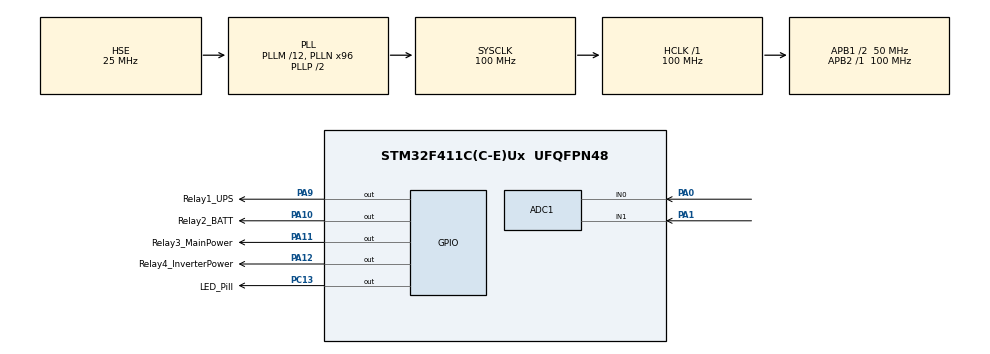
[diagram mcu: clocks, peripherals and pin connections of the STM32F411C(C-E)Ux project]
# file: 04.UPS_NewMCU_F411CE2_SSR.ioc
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ADC1.Channel-0\#ChannelRegularConversion=ADC_CHANNEL_0
ADC1.Channel-1\#ChannelRegularConversion=ADC_CHANNEL_1
ADC1.ExternalTrigConv=ADC_EXTERNALTRIGCONV_T2_TRGO
ADC1.NbrOfConversion=2
ADC1.NbrOfConversionFlag=1
ADC1.Rank-0\#ChannelRegularConversion=1
ADC1.Rank-1\#ChannelRegularConversion=2
ADC1.SamplingTime-0\#ChannelRegularConversion=ADC_SAMPLETIME_144CYCLES
ADC1.SamplingTime-1\#ChannelRegularConversion=ADC_SAMPLETIME_56CYCLES
ADC1.ScanConvMode=ENABLE
ADC1.master=1
Dma.ADC1.0.Direction=DMA_PERIPH_TO_MEMORY
Dma.ADC1.0.FIFOMode=DMA_FIFOMODE_DISABLE
Dma.ADC1.0.Instance=DMA2_Stream0
Dma.ADC1.0.MemDataAlignment=DMA_MDATAALIGN_WORD
Dma.ADC1.0.MemInc=DMA_MINC_ENABLE
Dma.ADC1.0.Mode=DMA_NORMAL
Dma.ADC1.0.PeriphDataAlignment=DMA_PDATAALIGN_WORD
Dma.ADC1.0.PeriphInc=DMA_PINC_DISABLE
Dma.ADC1.0.Priority=DMA_PRIORITY_MEDIUM
Dma.Request0=ADC1
Mcu.Family=STM32F4
Mcu.Name=STM32F411C(C-E)Ux
Mcu.Package=UFQFPN48
NVIC.DMA2_Stream0_IRQn=true\:0\:0\:false\:false\:true\:false\:true\:true
NVIC.PriorityGroup=NVIC_PRIORITYGROUP_4
NVIC.TIM1_UP_TIM10_IRQn=true\:0\:0\:false\:false\:true\:true\:true\:true
PA0-WKUP.Signal=ADCx_IN0
PA1.Signal=ADCx_IN1
PA10.GPIO_Label=Relay2_BATT
PA10.GPIO_ModeDefaultOutputPP=GPIO_MODE_OUTPUT_OD
PA10.GPIO_PuPd=GPIO_NOPULL
PA10.PinState=GPIO_PIN_SET
PA10.Signal=GPIO_Output
PA11.GPIO_Label=Relay3_MainPower
PA11.GPIO_ModeDefaultOutputPP=GPIO_MODE_OUTPUT_PP
PA11.GPIO_PuPd=GPIO_NOPULL
PA11.PinState=GPIO_PIN_RESET
PA11.Signal=GPIO_Output
PA12.GPIO_Label=Relay4_InverterPower
PA12.GPIO_ModeDefaultOutputPP=GPIO_MODE_OUTPUT_PP
PA12.GPIO_PuPd=GPIO_NOPULL
PA12.PinState=GPIO_PIN_RESET
PA12.Signal=GPIO_Output
PA13.Mode=Serial_Wire
PA13.Signal=SYS_JTMS-SWDIO
PA14.Mode=Serial_Wire
PA14.Signal=SYS_JTCK-SWCLK
PA9.GPIO_Label=Relay1_UPS
PA9.GPIO_ModeDefaultOutputPP=GPIO_MODE_OUTPUT_OD
PA9.GPIO_PuPd=GPIO_NOPULL
PA9.PinState=GPIO_PIN_SET
PA9.Signal=GPIO_Output
PC13-ANTI_TAMP.GPIO_Label=LED_Pill
PC13-ANTI_TAMP.PinState=GPIO_PIN_SET
PC13-ANTI_TAMP.Signal=GPIO_Output
PH0\ -\ OSC_IN.Mode=HSE-External-Oscillator
PH0\ -\ OSC_IN.Signal=RCC_OSC_IN
PH1\ -\ OSC_OUT.Mode=HSE-External-Oscillator
PH1\ -\ OSC_OUT.Signal=RCC_OSC_OUT
ProjectManager.HeapSize=0x200
ProjectManager.StackSize=0x400
ProjectManager.TargetToolchain=STM32CubeIDE
RCC.48MHZClocksFreq_Value=50000000
RCC.AHBFreq_Value=100000000
RCC.APB1CLKDivider=RCC_HCLK_DIV2
RCC.APB1Freq_Value=50000000
RCC.APB1TimFreq_Value=100000000
RCC.APB2Freq_Value=100000000
RCC.APB2TimFreq_Value=100000000
RCC.CortexFreq_Value=100000000
RCC.HCLKFreq_Value=100000000
RCC.HSE_VALUE=25000000
RCC.HSI_VALUE=16000000
RCC.LSE_VALUE=32768
RCC.PLLM=12
RCC.PLLN=96
RCC.PLLSourceVirtual=RCC_PLLSOURCE_HSE
RCC.SYSCLKFreq_VALUE=100000000
RCC.SYSCLKSource=RCC_SYSCLKSOURCE_PLLCLK
RCC.VCOOutputFreq_Value=200000000
SH.ADCx_IN0.0=ADC1_IN0,IN0
SH.ADCx_IN1.0=ADC1_IN1,IN1
TIM10.Period=9999
TIM10.Prescaler=9999
TIM2.Period=199
TIM2.Prescaler=99
TIM2.TIM_MasterOutputTrigger=TIM_TRGO_UPDATE
TIM2.TIM_MasterSlaveMode=TIM_MASTERSLAVEMODE_ENABLE
VP_TIM10_VS_ClockSourceINT.Mode=Enable_Timer
VP_TIM2_VS_ClockSourceINT.Mode=Internal
board=custom

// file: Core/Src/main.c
/* USER CODE BEGIN Header */
/**
  ******************************************************************************
  * @file           : main.c
  * @brief          : Main program body
  ******************************************************************************
  * @attention
  *
  * Copyright (c) 2025 STMicroelectronics.
  * All rights reserved.
  *
  * This software is licensed under terms that can be found in the LICENSE file
  * in the root directory of this software component.
  * If no LICENSE file comes with this software, it is provided AS-IS.
  *
  ******************************************************************************
  */
/* USER CODE END Header */
#include "main.h"
#include "adc.h"
#include "dma.h"
#include "tim.h"
#include "gpio.h"

/* USER CODE BEGIN Includes */
#include <stdbool.h>
#include "ZMPT101BHeader.h"
#include "BATTERYInfo.h"
#include "waweroBasicFunction.h"
#include <string.h>
/* USER CODE END Includes */

/* USER CODE BEGIN PD */
#define ADC_BUF_SIZE 2
#define Channel0_BUF_SIZE 100
#define Channel1_BUF_SIZE 400

/* USER CODE END PD */

/* USER CODE BEGIN PV */

volatile bool calculateBattVoltage = false;  // Global flag // co 1 sek ok.
volatile bool adc_ready = false;
volatile bool DMA_AC_AdjustSensivity = false;

int relayUpsStatus =0;
int relayBatteryCharging =0;
//int relayLineNStatus =0;
//int relayLineLStatus =0;

volatile bool isMainACSelected = true;
volatile bool acAvailable = false;

int relayLineMainPowerStatus =0;
int relayLineInverterPowerStatus =0;

int Buffer_DC_TableCount = 0;
int Buffer_AC_TableCount = 0;

bool DMA_DC_Was_Filled = false;
bool DMA_AC_Was_Filled = false;

float VoltageDCBattery;

eBatteryStatus BatteryStatus = NO_BATTERY;
eChargingStatus ChargingStatus = UNKNOWN;

bool BatteryCharging = false;

uint32_t BatteryChargingStartTime = 0;
int BatteryChargingTime = 0;
int BatteryChargingTimeLONG =43200; // 12h
int BatteryChargingTimeSHORT =21600; // 6h
uint32_t inrementOneSecTim=0;
int TimeNOW=0;

//bool WorkingOnBattery = false;
//bool WasDischarded = false;

float VoltageAC =230;
float VoltageACTemp =220;
int VoltageDrop = 190;

float batteryDischarged = 11.0;
int MSDelayBetweenACPower = 1500;

uint32_t ADC_DC_BATTERY_TABLE[Channel0_BUF_SIZE];
uint32_t ADC_AC_POWER_TABLE[Channel1_BUF_SIZE];
uint32_t adc_buffer[ADC_BUF_SIZE];

/* USER CODE END PV */

void SystemClock_Config(void);

int main(void)
{

  /* MCU Configuration--------------------------------------------------------*/

  /* Reset of all peripherals, Initializes the Flash interface and the Systick. */
  HAL_Init();

  /* Configure the system clock */
  SystemClock_Config();

  /* Initialize all configured peripherals */
  MX_GPIO_Init();
  MX_DMA_Init();
  MX_ADC1_Init();
  MX_TIM2_Init();
  MX_TIM10_Init();
  /* USER CODE BEGIN 2 */

  HAL_ADC_Start_DMA(&hadc1, adc_buffer, ADC_BUF_SIZE);
  HAL_TIM_Base_Start(&htim2);
  HAL_TIM_Base_Start_IT(&htim10);

  DelayInit();

  relayUpsStatus = ReadStatusRelay1_UPS();
  relayBatteryCharging = ReadStatusRelay2_BATTERY_CHARGE();
//  relayLineNStatus = ReadStatusRelay3_LineN();
//  relayLineLStatus = ReadStatusRelay4_LineL();
  relayLineMainPowerStatus = ReadStatusRelay3_MainPower();
  relayLineInverterPowerStatus = ReadStatusRelay4_InverterPower();

  Initialize_ZMPT101B(&hadc1);

  //BatteryCharging = true;
//  SetRelay1_UPS(1);
//  WorkingOnBattery = true;
  SetRelaySSR_4_InverterPower(0);
  DelayUS(2500);
  SetRelaySSR_3_MainPower(1);

  /* USER CODE END 2 */

  /* Infinite loop */
  /* USER CODE BEGIN WHILE */
  bool acAvailableLastStatus = true;
  bool isFirstRun = true;

  DelayUS(2000000);
  while (1)
  {
	 if(adc_ready == true)
	 {

		 // odczyt z ADC jakim napieciem dysponuje nasz Akumulator
		if(Buffer_DC_TableCount < Channel0_BUF_SIZE && DMA_DC_Was_Filled == false)
		{
			ADC_DC_BATTERY_TABLE[Buffer_DC_TableCount] = adc_buffer[0];
			Buffer_DC_TableCount++;
		}
		else
		{
			DMA_DC_Was_Filled = true;
			Buffer_DC_TableCount = 0;
		}

		// odczyt z ADC jakie jest napiecie w sieci
		if(Buffer_AC_TableCount < Channel1_BUF_SIZE && DMA_AC_Was_Filled == false)
		{
			ADC_AC_POWER_TABLE[Buffer_AC_TableCount] = adc_buffer[1];
			Buffer_AC_TableCount++;

		}
		else
		{
			DMA_AC_Was_Filled = true;
			Buffer_AC_TableCount = 0;
			//calibrateLowNoisePointFromDMA(ADC_AC_POWER_TABLE, Channel1_BUF_SIZE); jak jest uruchomione bardzo skacze wynik
		}

		adc_ready = false;
		HAL_ADC_Start_DMA(&hadc1, adc_buffer, ADC_BUF_SIZE);
	 }

     if (DMA_AC_Was_Filled)
     {
         DMA_AC_Was_Filled = false;

         // Odczyt statusów przekaźników
         relayUpsStatus               = ReadStatusRelay1_UPS();
         relayLineMainPowerStatus     = ReadStatusRelay3_MainPower();
         relayLineInverterPowerStatus = ReadStatusRelay4_InverterPower();

         // Pomiar napięcia sieci
         calibrateZeroPointWithTolerance(ADC_AC_POWER_TABLE, Channel1_BUF_SIZE, 50);
         VoltageAC = getVoltageACFromDMABuff(ADC_AC_POWER_TABLE, Channel1_BUF_SIZE, DMA_AC_AdjustSensivity);
         acAvailable = (VoltageAC > VoltageDrop);

		if(acAvailable != acAvailableLastStatus)
		{
			if (acAvailable && !isMainACSelected)
			{
				SetRelaySSR_4_InverterPower(0);
				DelayUS(MSDelayBetweenACPower);
				SetRelaySSR_3_MainPower(1);
				ResetADC();
				isMainACSelected = true;

				if(BatteryStatus < OK_BATTERY_HIGH && relayUpsStatus == 1)
					SetRelay1_UPS(0);

				acAvailableLastStatus = acAvailable;// jeżeli warunki przełączenia nie są spełnione, lastStatus NIE JEST aktualizowany
			}
			 //else if (!acAvailable && isMainACSelected && WasChargedEnough)
			else if (!acAvailable && isMainACSelected)
			 {
				if(BatteryStatus > DISCHARGED_BATTERY && relayUpsStatus == 0)
					SetRelay1_UPS(1);

				SetRelaySSR_3_MainPower(0);
				DelayUS(MSDelayBetweenACPower);
				SetRelaySSR_4_InverterPower(1);

				// ustabilizowanie sie napiecia baterii po zalaczeniu USP
				if(relayUpsStatus == 0)
					DelayUS(5000000);

				ResetADC();
				isMainACSelected = false;

				acAvailableLastStatus = acAvailable; // jeżeli warunki przełączenia nie są spełnione, lastStatus NIE JEST aktualizowany

			 }

		}
     }

	 if (DMA_DC_Was_Filled && calculateBattVoltage)
	 {
	     DMA_DC_Was_Filled    = false;
	     calculateBattVoltage = false;

	     VoltageDCBattery = ReadDCBattVoltageFromADC(ADC_DC_BATTERY_TABLE, Channel0_BUF_SIZE);
	     BatteryStatus    = BatteryInformation(batteryDischarged, VoltageDCBattery);

		switch (ChargingStatus)
	    {
			case UNKNOWN:
				ChargingStatus = CHARGING_REQUIRED;
			break;

			case CHARGING_REQUIRED:
				if (acAvailable)
				{
					if(BatteryStatus <= OK_BATTERY_MID)
					{
						ChargingStatus = CHARGING_BATTERY;
					}
					else if(isFirstRun)
					{
						isFirstRun = false;
						ChargingStatus = CHARGING_BATTERY;
					}
				}
				else
				{
					ChargingStatus = NOT_CHARGING;
				}
			break;

			case CHARGING_BATTERY:
				if (acAvailable)
				{
					SetRelay2_BATTERY_CHARGE(1);
					if(BatteryStatus == FULL_BATTERY)
					{
						ChargingStatus = CHARGING_END;
					}
				}
				else
				{
					ChargingStatus = NOT_CHARGING;
				}
			break;

			case CHARGING_END:
				if (acAvailable)
				{
					ChargingStatus = NOT_CHARGING;
				}
				else
				{
					ChargingStatus = CHARGING_REQUIRED;
				}

			break;

			case NOT_CHARGING:
				SetRelay2_BATTERY_CHARGE(0);

				if(BatteryStatus <= OK_BATTERY_HIGH)
				{
					ChargingStatus = CHARGING_REQUIRED;
				}
			break;
	    }

		switch (BatteryStatus)
		{
			case NO_BATTERY:
			case DISCHARGED_BATTERY:
				SetRelay1_UPS(0);
				break;

			case OK_BATTERY_LOW:
					if(acAvailableLastStatus == true && isMainACSelected == false)
					SetRelay1_UPS(0);
				break;

			case OK_BATTERY_MID:
				break;

			case OK_BATTERY_HIGH:
			case FULL_BATTERY:
				// bateria wystarczająco naładowana → inwerter ON
				SetRelay1_UPS(1);
				break;
		}
	 }

    /* USER CODE END WHILE */

  }
}

void SystemClock_Config(void)
{
  RCC_OscInitTypeDef RCC_OscInitStruct = {0};
  RCC_ClkInitTypeDef RCC_ClkInitStruct = {0};

  /** Configure the main internal regulator output voltage
  */
  __HAL_RCC_PWR_CLK_ENABLE();
  __HAL_PWR_VOLTAGESCALING_CONFIG(PWR_REGULATOR_VOLTAGE_SCALE1);

  /** Initializes the RCC Oscillators according to the specified parameters
  * in the RCC_OscInitTypeDef structure.
  */
  RCC_OscInitStruct.OscillatorType = RCC_OSCILLATORTYPE_HSE;
  RCC_OscInitStruct.HSEState = RCC_HSE_ON;
  RCC_OscInitStruct.PLL.PLLState = RCC_PLL_ON;
  RCC_OscInitStruct.PLL.PLLSource = RCC_PLLSOURCE_HSE;
  RCC_OscInitStruct.PLL.PLLM = 12;
  RCC_OscInitStruct.PLL.PLLN = 96;
  RCC_OscInitStruct.PLL.PLLP = RCC_PLLP_DIV2;
  RCC_OscInitStruct.PLL.PLLQ = 4;
  if (HAL_RCC_OscConfig(&RCC_OscInitStruct) != HAL_OK)
  {
    Error_Handler();
  }

  /** Initializes the CPU, AHB and APB buses clocks
  */
  RCC_ClkInitStruct.ClockType = RCC_CLOCKTYPE_HCLK|RCC_CLOCKTYPE_SYSCLK
                              |RCC_CLOCKTYPE_PCLK1|RCC_CLOCKTYPE_PCLK2;
  RCC_ClkInitStruct.SYSCLKSource = RCC_SYSCLKSOURCE_PLLCLK;
  RCC_ClkInitStruct.AHBCLKDivider = RCC_SYSCLK_DIV1;
  RCC_ClkInitStruct.APB1CLKDivider = RCC_HCLK_DIV2;
  RCC_ClkInitStruct.APB2CLKDivider = RCC_HCLK_DIV1;

  if (HAL_RCC_ClockConfig(&RCC_ClkInitStruct, FLASH_LATENCY_3) != HAL_OK)
  {
    Error_Handler();
  }
}

/* USER CODE BEGIN 4 */

void ResetADC()
{
	HAL_ADC_Stop_DMA(&hadc1);
	memset( ADC_AC_POWER_TABLE, 0, Channel1_BUF_SIZE * sizeof(uint32_t) );
	memset( adc_buffer, 0, ADC_BUF_SIZE * sizeof(uint32_t) );

	adc_ready = false;
	DMA_AC_Was_Filled = false;
	DMA_DC_Was_Filled = false;
	Buffer_AC_TableCount = 0;
	//DelayUS(1000);//100milisec
	HAL_ADC_Start_DMA(&hadc1, adc_buffer, ADC_BUF_SIZE);

}

void HAL_ADC_ConvCpltCallback(ADC_HandleTypeDef *hadc)
{
	//UNUSED(hadc); // nie wiem czemu tego nie wyremować ??
	HAL_ADC_Stop_DMA(&hadc1); // jesli chcial bym wylaczyc timer
	adc_ready = true;
}

void HAL_TIM_PeriodElapsedCallback(TIM_HandleTypeDef *htim)
{
	if(htim->Instance == TIM10) // jest odpalany co 1 sek.
	{
		ToggleLedOnBlackPill();
		calculateBattVoltage = true;  // Global flag
		inrementOneSecTim++;
//
//		if(DMA_AC_AdjustSensivity == false)
//			DMA_AC_AdjustSensivity = true;
//		else
//			DMA_AC_AdjustSensivity = false;
	}
}

/* USER CODE END 4 */

void Error_Handler(void)
{
  __disable_irq();
  while (1)
  {
  }
}
